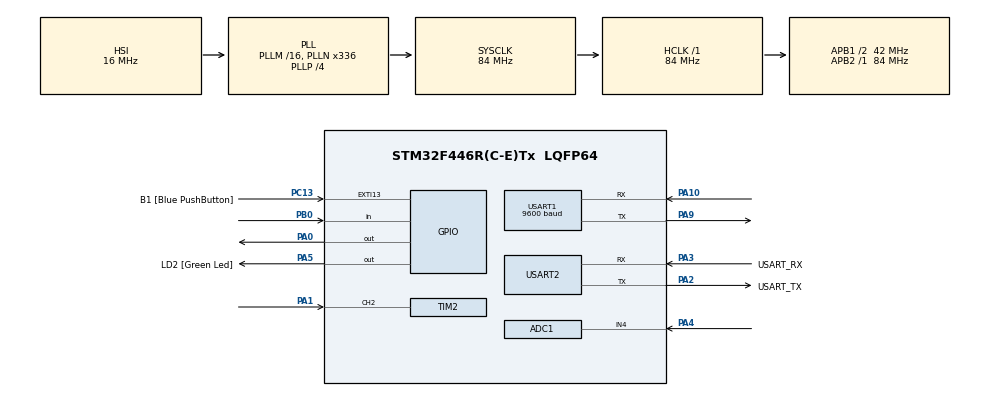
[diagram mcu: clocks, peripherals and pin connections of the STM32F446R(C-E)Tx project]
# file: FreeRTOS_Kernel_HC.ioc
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ADC1.Channel-0\#ChannelRegularConversion=ADC_CHANNEL_4
ADC1.NbrOfConversionFlag=1
ADC1.Rank-0\#ChannelRegularConversion=1
ADC1.SamplingTime-0\#ChannelRegularConversion=ADC_SAMPLETIME_3CYCLES
ADC1.master=1
Mcu.Family=STM32F4
Mcu.Name=STM32F446R(C-E)Tx
Mcu.Package=LQFP64
NVIC.EXTI15_10_IRQn=true\:0\:0\:false\:false\:true\:true\:true\:true
NVIC.PriorityGroup=NVIC_PRIORITYGROUP_4
NVIC.TIM2_IRQn=true\:0\:0\:false\:false\:true\:true\:true\:true
NVIC.TIM6_DAC_IRQn=true\:0\:0\:false\:false\:true\:false\:true\:true
NVIC.TimeBase=TIM6_DAC_IRQn
NVIC.TimeBaseIP=TIM6
NVIC.USART1_IRQn=true\:0\:0\:false\:false\:true\:true\:true\:true
PA0-WKUP.Signal=GPIO_Output
PA1.Signal=S_TIM2_CH2
PA10.Mode=Asynchronous
PA10.Signal=USART1_RX
PA13.GPIO_Label=TMS
PA13.Mode=Serial_Wire
PA13.Signal=SYS_JTMS-SWDIO
PA14.GPIO_Label=TCK
PA14.Mode=Serial_Wire
PA14.Signal=SYS_JTCK-SWCLK
PA2.GPIO_Label=USART_TX
PA2.Mode=Asynchronous
PA2.Signal=USART2_TX
PA3.GPIO_Label=USART_RX
PA3.Mode=Asynchronous
PA3.Signal=USART2_RX
PA4.Signal=ADCx_IN4
PA5.GPIO_Label=LD2 [Green Led]
PA5.Signal=GPIO_Output
PA9.Mode=Asynchronous
PA9.Signal=USART1_TX
PB0.Signal=GPIO_Input
PB3.GPIO_Label=SWO
PB3.Signal=SYS_JTDO-SWO
PC13.GPIO_Label=B1 [Blue PushButton]
PC13.GPIO_ModeDefaultEXTI=GPIO_MODE_IT_FALLING
PC13.Signal=GPXTI13
PC14-OSC32_IN.Mode=LSE-External-Oscillator
PC14-OSC32_IN.Signal=RCC_OSC32_IN
PC15-OSC32_OUT.Mode=LSE-External-Oscillator
PC15-OSC32_OUT.Signal=RCC_OSC32_OUT
PH0-OSC_IN.Mode=HSE-External-Oscillator
PH0-OSC_IN.Signal=RCC_OSC_IN
PH1-OSC_OUT.Mode=HSE-External-Oscillator
PH1-OSC_OUT.Signal=RCC_OSC_OUT
ProjectManager.HeapSize=0x200
ProjectManager.StackSize=0x400
ProjectManager.TargetToolchain=STM32CubeIDE
RCC.48MHZClocksFreq_Value=84000000
RCC.AHBFreq_Value=84000000
RCC.APB1CLKDivider=RCC_HCLK_DIV2
RCC.APB1Freq_Value=42000000
RCC.APB1TimFreq_Value=84000000
RCC.APB2Freq_Value=84000000
RCC.APB2TimFreq_Value=84000000
RCC.CortexFreq_Value=84000000
RCC.FLatency-AdvancedSettings=FLASH_LATENCY_2
RCC.HCLKFreq_Value=84000000
RCC.HSE_VALUE=8000000
RCC.HSI_VALUE=16000000
RCC.PLLN=336
RCC.PLLP=RCC_PLLP_DIV4
RCC.SYSCLKFreq_VALUE=84000000
RCC.SYSCLKSource=RCC_SYSCLKSOURCE_PLLCLK
RCC.USBFreq_Value=168000000
RCC.VCOOutputFreq_Value=336000000
SH.ADCx_IN4.0=ADC1_IN4,IN4
SH.S_TIM2_CH2.0=TIM2_CH2,Input_Capture2_from_TI2
TIM2.Channel-Input_Capture2_from_TI2=TIM_CHANNEL_2
TIM2.Period=0xFFFF
TIM2.Prescaler=83
USART1.BaudRate=9600
USART1.VirtualMode=VM_ASYNC
USART2.VirtualMode=VM_ASYNC
VP_SYS_VS_tim6.Mode=TIM6
board=NUCLEO-F446RE

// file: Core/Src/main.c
/* USER CODE BEGIN Header */
/**

 ================= ULTRASONIC  =================

 VCC → 5V (works with 5V supply).

 GND → GND.

 Trigger → PA0 (GPIO Output).

 Echo → PA1 (Timer Input Capture, e.g., TIM2 CH2).

 TIM2 (Input Capture)

Channel 2 → PA1 (ECHO pin)

Prescaler: 84-1 (for 1 MHz counter = 1 µs per tick at 84 MHz clock).

Counter Period: 0xFFFF (max).

================= BLUETOOTH TASK =================
 VCC → 5V (works with 5V supply).

 GND → GND.

 PA10 rx -> tx

 PA9 tx -> rx

 enable the NVIC

 set bardrate as 9600 is default for bluetooth **/

/* USER CODE END Header */
#include "main.h"

/* USER CODE BEGIN Includes */
#include "FreeRTOS.h"
#include "task.h"
#include <stdio.h>
#include <string.h>
/* USER CODE END Includes */

/* USER CODE BEGIN PM */

/* ================= UART RX BUFFER ================= */
#define RX_BUFFER_SIZE 64
char rxBuffer[RX_BUFFER_SIZE];
uint8_t rxData;
uint8_t rxIndex = 0;

/* ================= HCSR04 VARIABLES ================= */
uint32_t IC_Val1 = 0;
uint32_t IC_Val2 = 0;
uint8_t Is_First_Captured = 0;
uint32_t Difference = 0;
float Distance = 0.0;

/* ================= KY-024 VARIABLES ================= */
uint32_t adcValue;
float voltage;
/* USER CODE END PM */

ADC_HandleTypeDef hadc1;

TIM_HandleTypeDef htim2;

UART_HandleTypeDef huart1;
UART_HandleTypeDef huart2;

void SystemClock_Config(void);
static void MX_GPIO_Init(void);
static void MX_USART2_UART_Init(void);
static void MX_USART1_UART_Init(void);
static void MX_TIM2_Init(void);
static void MX_ADC1_Init(void);
/* USER CODE BEGIN PFP */

void processCommand(char *cmd);
void HCSR04_Trigger(void);
float HCSR04_Read(void);

/* ================= TASK PROTOTYPES ================= */
void BluetoothTask(void *pvParameters);
void UltrasonicTask(void *pvParameters);
void Ky024Task(void *pvParameters);

/* USER CODE END PFP */

int main(void)
{

  /* MCU Configuration--------------------------------------------------------*/

  /* Reset of all peripherals, Initializes the Flash interface and the Systick. */
  HAL_Init();

  /* Configure the system clock */
  SystemClock_Config();

  /* Initialize all configured peripherals */
  MX_GPIO_Init();
  MX_USART2_UART_Init();
  MX_USART1_UART_Init();
  MX_TIM2_Init();
  MX_ADC1_Init();
  /* USER CODE BEGIN 2 */

  /* Start Timer for Input Capture */
     HAL_TIM_IC_Start_IT(&htim2, TIM_CHANNEL_2);

     /* Start UART RX interrupt */
     HAL_UART_Receive_IT(&huart1, &rxData, 1);

     /* Create FreeRTOS tasks */
     xTaskCreate(BluetoothTask, "BT_Task", 256, NULL, 2, NULL);
     xTaskCreate(UltrasonicTask, "US_Task", 256, NULL, 1, NULL);
     xTaskCreate(Ky024Task, "Ky024_Task", 256, NULL, 1, NULL);

     printf("System Initialized\r\n");
     /* Start scheduler */
     vTaskStartScheduler();

  /* USER CODE END 2 */

  /* Infinite loop */
  while (1)
  {

  }
}

void SystemClock_Config(void)
{
  RCC_OscInitTypeDef RCC_OscInitStruct = {0};
  RCC_ClkInitTypeDef RCC_ClkInitStruct = {0};

  /** Configure the main internal regulator output voltage
  */
  __HAL_RCC_PWR_CLK_ENABLE();
  __HAL_PWR_VOLTAGESCALING_CONFIG(PWR_REGULATOR_VOLTAGE_SCALE3);

  /** Initializes the RCC Oscillators according to the specified parameters
  * in the RCC_OscInitTypeDef structure.
  */
  RCC_OscInitStruct.OscillatorType = RCC_OSCILLATORTYPE_HSI;
  RCC_OscInitStruct.HSIState = RCC_HSI_ON;
  RCC_OscInitStruct.HSICalibrationValue = RCC_HSICALIBRATION_DEFAULT;
  RCC_OscInitStruct.PLL.PLLState = RCC_PLL_ON;
  RCC_OscInitStruct.PLL.PLLSource = RCC_PLLSOURCE_HSI;
  RCC_OscInitStruct.PLL.PLLM = 16;
  RCC_OscInitStruct.PLL.PLLN = 336;
  RCC_OscInitStruct.PLL.PLLP = RCC_PLLP_DIV4;
  RCC_OscInitStruct.PLL.PLLQ = 2;
  RCC_OscInitStruct.PLL.PLLR = 2;
  if (HAL_RCC_OscConfig(&RCC_OscInitStruct) != HAL_OK)
  {
    Error_Handler();
  }

  /** Initializes the CPU, AHB and APB buses clocks
  */
  RCC_ClkInitStruct.ClockType = RCC_CLOCKTYPE_HCLK|RCC_CLOCKTYPE_SYSCLK
                              |RCC_CLOCKTYPE_PCLK1|RCC_CLOCKTYPE_PCLK2;
  RCC_ClkInitStruct.SYSCLKSource = RCC_SYSCLKSOURCE_PLLCLK;
  RCC_ClkInitStruct.AHBCLKDivider = RCC_SYSCLK_DIV1;
  RCC_ClkInitStruct.APB1CLKDivider = RCC_HCLK_DIV2;
  RCC_ClkInitStruct.APB2CLKDivider = RCC_HCLK_DIV1;

  if (HAL_RCC_ClockConfig(&RCC_ClkInitStruct, FLASH_LATENCY_2) != HAL_OK)
  {
    Error_Handler();
  }
}

static void MX_ADC1_Init(void)
{

  ADC_ChannelConfTypeDef sConfig = {0};

  /** Configure the global features of the ADC (Clock, Resolution, Data Alignment and number of conversion)
  */
  hadc1.Instance = ADC1;
  hadc1.Init.ClockPrescaler = ADC_CLOCK_SYNC_PCLK_DIV4;
  hadc1.Init.Resolution = ADC_RESOLUTION_12B;
  hadc1.Init.ScanConvMode = DISABLE;
  hadc1.Init.ContinuousConvMode = DISABLE;
  hadc1.Init.DiscontinuousConvMode = DISABLE;
  hadc1.Init.ExternalTrigConvEdge = ADC_EXTERNALTRIGCONVEDGE_NONE;
  hadc1.Init.ExternalTrigConv = ADC_SOFTWARE_START;
  hadc1.Init.DataAlign = ADC_DATAALIGN_RIGHT;
  hadc1.Init.NbrOfConversion = 1;
  hadc1.Init.DMAContinuousRequests = DISABLE;
  hadc1.Init.EOCSelection = ADC_EOC_SINGLE_CONV;
  if (HAL_ADC_Init(&hadc1) != HAL_OK)
  {
    Error_Handler();
  }

  /** Configure for the selected ADC regular channel its corresponding rank in the sequencer and its sample time.
  */
  sConfig.Channel = ADC_CHANNEL_4;
  sConfig.Rank = 1;
  sConfig.SamplingTime = ADC_SAMPLETIME_3CYCLES;
  if (HAL_ADC_ConfigChannel(&hadc1, &sConfig) != HAL_OK)
  {
    Error_Handler();
  }

}

static void MX_TIM2_Init(void)
{

  TIM_MasterConfigTypeDef sMasterConfig = {0};
  TIM_IC_InitTypeDef sConfigIC = {0};

  htim2.Instance = TIM2;
  htim2.Init.Prescaler = 83;
  htim2.Init.CounterMode = TIM_COUNTERMODE_UP;
  htim2.Init.Period = 0xFFFF;
  htim2.Init.ClockDivision = TIM_CLOCKDIVISION_DIV1;
  htim2.Init.AutoReloadPreload = TIM_AUTORELOAD_PRELOAD_DISABLE;
  if (HAL_TIM_IC_Init(&htim2) != HAL_OK)
  {
    Error_Handler();
  }
  sMasterConfig.MasterOutputTrigger = TIM_TRGO_RESET;
  sMasterConfig.MasterSlaveMode = TIM_MASTERSLAVEMODE_DISABLE;
  if (HAL_TIMEx_MasterConfigSynchronization(&htim2, &sMasterConfig) != HAL_OK)
  {
    Error_Handler();
  }
  sConfigIC.ICPolarity = TIM_INPUTCHANNELPOLARITY_RISING;
  sConfigIC.ICSelection = TIM_ICSELECTION_DIRECTTI;
  sConfigIC.ICPrescaler = TIM_ICPSC_DIV1;
  sConfigIC.ICFilter = 0;
  if (HAL_TIM_IC_ConfigChannel(&htim2, &sConfigIC, TIM_CHANNEL_2) != HAL_OK)
  {
    Error_Handler();
  }

}

static void MX_USART1_UART_Init(void)
{

  huart1.Instance = USART1;
  huart1.Init.BaudRate = 9600;
  huart1.Init.WordLength = UART_WORDLENGTH_8B;
  huart1.Init.StopBits = UART_STOPBITS_1;
  huart1.Init.Parity = UART_PARITY_NONE;
  huart1.Init.Mode = UART_MODE_TX_RX;
  huart1.Init.HwFlowCtl = UART_HWCONTROL_NONE;
  huart1.Init.OverSampling = UART_OVERSAMPLING_16;
  if (HAL_UART_Init(&huart1) != HAL_OK)
  {
    Error_Handler();
  }

}

static void MX_USART2_UART_Init(void)
{

  huart2.Instance = USART2;
  huart2.Init.BaudRate = 115200;
  huart2.Init.WordLength = UART_WORDLENGTH_8B;
  huart2.Init.StopBits = UART_STOPBITS_1;
  huart2.Init.Parity = UART_PARITY_NONE;
  huart2.Init.Mode = UART_MODE_TX_RX;
  huart2.Init.HwFlowCtl = UART_HWCONTROL_NONE;
  huart2.Init.OverSampling = UART_OVERSAMPLING_16;
  if (HAL_UART_Init(&huart2) != HAL_OK)
  {
    Error_Handler();
  }

}

static void MX_GPIO_Init(void)
{
  GPIO_InitTypeDef GPIO_InitStruct = {0};

  /* GPIO Ports Clock Enable */
  __HAL_RCC_GPIOC_CLK_ENABLE();
  __HAL_RCC_GPIOH_CLK_ENABLE();
  __HAL_RCC_GPIOA_CLK_ENABLE();
  __HAL_RCC_GPIOB_CLK_ENABLE();

  /*Configure GPIO pin Output Level */
  HAL_GPIO_WritePin(GPIOA, GPIO_PIN_0|LD2_Pin, GPIO_PIN_RESET);

  /*Configure GPIO pin : B1_Pin */
  GPIO_InitStruct.Pin = B1_Pin;
  GPIO_InitStruct.Mode = GPIO_MODE_IT_FALLING;
  GPIO_InitStruct.Pull = GPIO_NOPULL;
  HAL_GPIO_Init(B1_GPIO_Port, &GPIO_InitStruct);

  /*Configure GPIO pins : PA0 LD2_Pin */
  GPIO_InitStruct.Pin = GPIO_PIN_0|LD2_Pin;
  GPIO_InitStruct.Mode = GPIO_MODE_OUTPUT_PP;
  GPIO_InitStruct.Pull = GPIO_NOPULL;
  GPIO_InitStruct.Speed = GPIO_SPEED_FREQ_LOW;
  HAL_GPIO_Init(GPIOA, &GPIO_InitStruct);

  /*Configure GPIO pin : PB0 */
  GPIO_InitStruct.Pin = GPIO_PIN_0;
  GPIO_InitStruct.Mode = GPIO_MODE_INPUT;
  GPIO_InitStruct.Pull = GPIO_NOPULL;
  HAL_GPIO_Init(GPIOB, &GPIO_InitStruct);

  /* EXTI interrupt init*/
  HAL_NVIC_SetPriority(EXTI15_10_IRQn, 0, 0);
  HAL_NVIC_EnableIRQ(EXTI15_10_IRQn);

}

/* USER CODE BEGIN 4 */

/* ================= BLUETOOTH TASK ================= */
void BluetoothTask(void *pvParameters)
{
    char *msg = "Bluetooth Chat Ready\r\n";
    HAL_UART_Transmit(&huart2, (uint8_t*)msg, strlen(msg), HAL_MAX_DELAY);

    for (;;)
    {
        // nothing here, all handled in UART callback
        vTaskDelay(1000);
    }
}

/* ================= ULTRASONIC TASK ================= */
void UltrasonicTask(void *pvParameters)
{
//    char buf[64];
    for (;;)
    {
        float dist = HCSR04_Read();
        printf("Distance = %.2f cm\r\n", dist);
//        snprintf(buf, sizeof(buf), "Distance = %.2f cm\r\n", dist);
//        HAL_UART_Transmit(&huart2, (uint8_t*)buf, strlen(buf), HAL_MAX_DELAY);
        vTaskDelay(pdMS_TO_TICKS(100)); // 500 ms delay
    }
}

/* ================= Ky-024 TASK ================= */
void Ky024Task(void *pvParameters) {
	for (;;)
	{
// Read Analog output from KY-024
		HAL_ADC_Start(&hadc1);
		HAL_ADC_PollForConversion(&hadc1, HAL_MAX_DELAY);
		adcValue = HAL_ADC_GetValue(&hadc1);

		// Convert to voltage (assuming 12-bit ADC and 3.3V ref)
		voltage = (adcValue * 3.3) / 4095.0;

		// Print ADC value and voltage
		printf("ADC: %lu, Voltage: %.2f V\r\n", adcValue, voltage);

		// Read Digital Output
		if (HAL_GPIO_ReadPin(GPIOB, GPIO_PIN_0) == GPIO_PIN_RESET) {
			printf("Magnet NOT detected\r\n");

		} else {
			printf("Magnet DETECTED!\r\n");

		}

		vTaskDelay(1000);
	}
}
/* ================= UART CALLBACK ================= */
void HAL_UART_RxCpltCallback(UART_HandleTypeDef *huart)
{
    if (huart->Instance == USART1) // HC-05
    {
        if (rxData == '\r' || rxData == '\n')
        {
            rxBuffer[rxIndex] = '\0'; // End string

            if (rxIndex > 0) {
                char dbg[80];
                snprintf(dbg, sizeof(dbg), "Received: %s\r\n", rxBuffer);
                HAL_UART_Transmit(&huart2, (uint8_t*)dbg, strlen(dbg), HAL_MAX_DELAY);

                processCommand(rxBuffer);
                rxIndex = 0;
            }
        }
        else
        {
            if (rxIndex < RX_BUFFER_SIZE - 1)
            {
                rxBuffer[rxIndex++] = rxData;
            }
        }

        HAL_UART_Receive_IT(&huart1, &rxData, 1); // Restart UART
    }
}

/* ================= PROCESS COMMAND ================= */
void processCommand(char *cmd)
{
    if (strcmp(cmd, "led on") == 0) {
        HAL_GPIO_WritePin(GPIOA, GPIO_PIN_5, GPIO_PIN_SET);
        char *resp = "LED turned ON\r\n";
        HAL_UART_Transmit(&huart1, (uint8_t*)resp, strlen(resp), HAL_MAX_DELAY);
    }
    else if (strcmp(cmd, "led off") == 0) {
        HAL_GPIO_WritePin(GPIOA, GPIO_PIN_5, GPIO_PIN_RESET);
        char *resp = "LED turned OFF\r\n";
        HAL_UART_Transmit(&huart1, (uint8_t*)resp, strlen(resp), HAL_MAX_DELAY);
    }
    else {
        char *resp = "Unknown command\r\n";
        HAL_UART_Transmit(&huart1, (uint8_t*)resp, strlen(resp), HAL_MAX_DELAY);
    }
}

/* ================= HCSR04 FUNCTIONS ================= */
void HCSR04_Trigger(void)
{
    HAL_GPIO_WritePin(GPIOA, GPIO_PIN_0, GPIO_PIN_SET);
    HAL_Delay(0.01);  // 10 us
    HAL_GPIO_WritePin(GPIOA, GPIO_PIN_0, GPIO_PIN_RESET);
}

float HCSR04_Read(void)
{
    HCSR04_Trigger();
    __HAL_TIM_ENABLE_IT(&htim2, TIM_IT_CC2);
    vTaskDelay(pdMS_TO_TICKS(60));
    return Distance;
}

void HAL_TIM_IC_CaptureCallback(TIM_HandleTypeDef *htim)
{
    if (htim->Channel == HAL_TIM_ACTIVE_CHANNEL_2)
    {
        if (Is_First_Captured == 0)
        {
            IC_Val1 = HAL_TIM_ReadCapturedValue(htim, TIM_CHANNEL_2);
            Is_First_Captured = 1;
            __HAL_TIM_SET_CAPTUREPOLARITY(htim, TIM_CHANNEL_2, TIM_INPUTCHANNELPOLARITY_FALLING);
        }
        else
        {
            IC_Val2 = HAL_TIM_ReadCapturedValue(htim, TIM_CHANNEL_2);

            if (IC_Val2 > IC_Val1) Difference = IC_Val2 - IC_Val1;
            else Difference = (0xFFFF - IC_Val1) + IC_Val2;

            Distance = (Difference * 0.0343f) / 2.0f;  // speed of sound 343 m/s

            Is_First_Captured = 0;
            __HAL_TIM_SET_CAPTUREPOLARITY(htim, TIM_CHANNEL_2, TIM_INPUTCHANNELPOLARITY_RISING);
            __HAL_TIM_DISABLE_IT(htim, TIM_IT_CC2);
        }
    }
}

int _write(int file, char *ptr, int len) {
	(void) file;
	int DataIdx;

	for (DataIdx = 0; DataIdx < len; DataIdx++) {
		ITM_SendChar(*ptr++);
	}
	return len;
}

/* USER CODE END 4 */

void HAL_TIM_PeriodElapsedCallback(TIM_HandleTypeDef *htim)
{
  if (htim->Instance == TIM6) {
    HAL_IncTick();
  }
}

void Error_Handler(void)
{
  __disable_irq();
  while (1)
  {
  }
}
